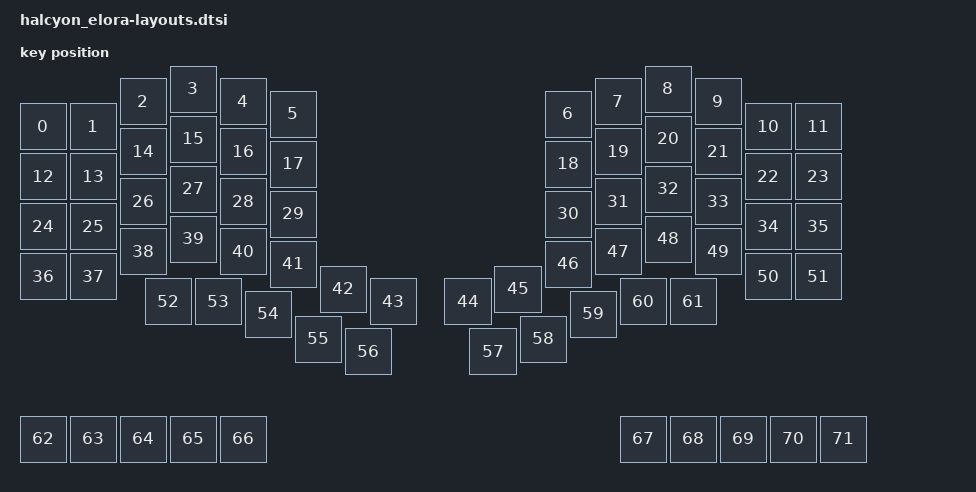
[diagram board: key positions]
#include <physical_layouts.dtsi>

/ {
    splitkb_halcyon_elora: splitkb_halcyon_elora {
        compatible = "zmk,physical-layout";
        display-name = "Halcyon Elora";

        keys  //                     w   h    x    y     rot    rx    ry
            = <&key_physical_attrs 100 100    0   75       0     0     0>
            , <&key_physical_attrs 100 100  100   75       0     0     0>
            , <&key_physical_attrs 100 100  200   25       0     0     0>
            , <&key_physical_attrs 100 100  300    0       0     0     0>
            , <&key_physical_attrs 100 100  400   25       0     0     0>
            , <&key_physical_attrs 100 100  500   50       0     0     0>
            , <&key_physical_attrs 100 100 1050   50       0     0     0>
            , <&key_physical_attrs 100 100 1150   25       0     0     0>
            , <&key_physical_attrs 100 100 1250    0       0     0     0>
            , <&key_physical_attrs 100 100 1350   25       0     0     0>
            , <&key_physical_attrs 100 100 1450   75       0     0     0>
            , <&key_physical_attrs 100 100 1550   75       0     0     0>
            , <&key_physical_attrs 100 100    0  175       0     0     0>
            , <&key_physical_attrs 100 100  100  175       0     0     0>
            , <&key_physical_attrs 100 100  200  125       0     0     0>
            , <&key_physical_attrs 100 100  300  100       0     0     0>
            , <&key_physical_attrs 100 100  400  125       0     0     0>
            , <&key_physical_attrs 100 100  500  150       0     0     0>
            , <&key_physical_attrs 100 100 1050  150       0     0     0>
            , <&key_physical_attrs 100 100 1150  125       0     0     0>
            , <&key_physical_attrs 100 100 1250  100       0     0     0>
            , <&key_physical_attrs 100 100 1350  125       0     0     0>
            , <&key_physical_attrs 100 100 1450  175       0     0     0>
            , <&key_physical_attrs 100 100 1550  175       0     0     0>
            , <&key_physical_attrs 100 100    0  275       0     0     0>
            , <&key_physical_attrs 100 100  100  275       0     0     0>
            , <&key_physical_attrs 100 100  200  225       0     0     0>
            , <&key_physical_attrs 100 100  300  200       0     0     0>
            , <&key_physical_attrs 100 100  400  225       0     0     0>
            , <&key_physical_attrs 100 100  500  250       0     0     0>
            , <&key_physical_attrs 100 100 1050  250       0     0     0>
            , <&key_physical_attrs 100 100 1150  225       0     0     0>
            , <&key_physical_attrs 100 100 1250  200       0     0     0>
            , <&key_physical_attrs 100 100 1350  225       0     0     0>
            , <&key_physical_attrs 100 100 1450  275       0     0     0>
            , <&key_physical_attrs 100 100 1550  275       0     0     0>
            , <&key_physical_attrs 100 100    0  375       0     0     0>
            , <&key_physical_attrs 100 100  100  375       0     0     0>
            , <&key_physical_attrs 100 100  200  325       0     0     0>
            , <&key_physical_attrs 100 100  300  300       0     0     0>
            , <&key_physical_attrs 100 100  400  325       0     0     0>
            , <&key_physical_attrs 100 100  500  350       0     0     0>
            , <&key_physical_attrs 100 100  600  400       0     0     0>
            , <&key_physical_attrs 100 100  700  425       0     0     0>
            , <&key_physical_attrs 100 100  850  425       0     0     0>
            , <&key_physical_attrs 100 100  950  400       0     0     0>
            , <&key_physical_attrs 100 100 1050  350       0     0     0>
            , <&key_physical_attrs 100 100 1150  325       0     0     0>
            , <&key_physical_attrs 100 100 1250  300       0     0     0>
            , <&key_physical_attrs 100 100 1350  325       0     0     0>
            , <&key_physical_attrs 100 100 1450  375       0     0     0>
            , <&key_physical_attrs 100 100 1550  375       0     0     0>
            , <&key_physical_attrs 100 100  250  425       0     0     0>
            , <&key_physical_attrs 100 100  350  425       0     0     0>
            , <&key_physical_attrs 100 100  450  450       0     0     0>
            , <&key_physical_attrs 100 100  550  500       0     0     0>
            , <&key_physical_attrs 100 100  650  525       0     0     0>
            , <&key_physical_attrs 100 100  900  525       0     0     0>
            , <&key_physical_attrs 100 100 1000  500       0     0     0>
            , <&key_physical_attrs 100 100 1100  450       0     0     0>
            , <&key_physical_attrs 100 100 1200  425       0     0     0>
            , <&key_physical_attrs 100 100 1300  425       0     0     0>
            , <&key_physical_attrs 100 100    0  700       0     0     0>
            , <&key_physical_attrs 100 100  100  700       0     0     0>
            , <&key_physical_attrs 100 100  200  700       0     0     0>
            , <&key_physical_attrs 100 100  300  700       0     0     0>
            , <&key_physical_attrs 100 100  400  700       0     0     0>
            , <&key_physical_attrs 100 100 1200  700       0     0     0>
            , <&key_physical_attrs 100 100 1300  700       0     0     0>
            , <&key_physical_attrs 100 100 1400  700       0     0     0>
            , <&key_physical_attrs 100 100 1500  700       0     0     0>
            , <&key_physical_attrs 100 100 1600  700       0     0     0>
            ;
    };
};
